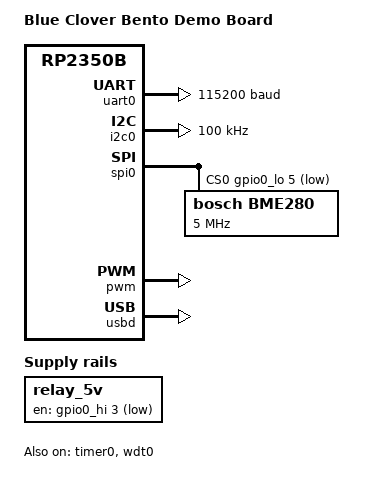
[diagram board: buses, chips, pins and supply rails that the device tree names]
/*
 * Copyright (c) 2026 Blue Clover Devices
 *
 * SPDX-License-Identifier: Apache-2.0
 */

/dts-v1/;

#include <raspberrypi/rpi_pico/rp2350b.dtsi>
#include <raspberrypi/rpi_pico/m33.dtsi>

#include <freq.h>
#include <zephyr/dt-bindings/i2c/i2c.h>
#include <zephyr/dt-bindings/led/led.h>
#include <zephyr/dt-bindings/pwm/pwm.h>

#include "bento-pinctrl.dtsi"

/ {
	model = "Blue Clover Bento Demo Board";
	compatible = "blueclover,bento";

	chosen {
		zephyr,sram = &sram0;
		zephyr,flash = &flash0;
		zephyr,flash-controller = &qmi;
		zephyr,console = &uart0;
		zephyr,shell-uart = &uart0;
		zephyr,code-partition = &code_partition;
	};

	aliases {
		watchdog0 = &wdt0;
		led-strip = &ws2812;
		pwm-buzzer = &pwm;
	};

	/* RGB_5V_IN power enable via relay on GPIO35 (RP_S1 / RELAY_S_IN) */
	relay_5v: relay-5v {
		compatible = "regulator-fixed";
		regulator-name = "relay_5v";
		enable-gpios = <&gpio0_hi 3 GPIO_ACTIVE_LOW>;
		regulator-boot-on;
	};
};

&flash0 {
	reg = <0x10000000 DT_SIZE_M(4)>;

	partitions {
		compatible = "fixed-partitions";
		#address-cells = <1>;
		#size-cells = <1>;

		/* Image definition block at start of flash */
		image_def: partition@0 {
			label = "image_def";
			reg = <0x00000000 0x100>;
			read-only;
		};

		/* Usable code partition */
		code_partition: partition@100 {
			label = "code-partition";
			reg = <0x100 (DT_SIZE_M(4) - 0x100)>;
			read-only;
		};
	};
};

&uart0 {
	current-speed = <115200>;
	status = "okay";
	pinctrl-0 = <&uart0_default>;
	pinctrl-names = "default";
};

gpio0_lo: &gpio0 {
	status = "okay";
};

&gpio0_hi {
	status = "okay";
};

&i2c0 {
	clock-frequency = <I2C_BITRATE_STANDARD>;
	pinctrl-0 = <&i2c0_default>;
	pinctrl-names = "default";
	status = "okay";
};

/*
 * SPI0: BME280 environmental sensor (SENS_SPI)
 * SCK=GP6, TX(MOSI)=GP7, RX(MISO)=GP4, CS=GP5 (RP_SPIS_SS / CS_BME280)
 */
&spi0 {
	pinctrl-0 = <&spi0_default>;
	pinctrl-names = "default";
	cs-gpios = <&gpio0_lo 5 GPIO_ACTIVE_LOW>;
	status = "okay";

	bme280: bme280@0 {
		compatible = "bosch,bme280";
		reg = <0>;
		spi-max-frequency = <5000000>;
	};
};

/* PWM: buzzer driven via MMBT3904 on GP29 (AUDIO_IN), channel 6B */
&pwm {
	pinctrl-0 = <&pwm_ch6b_default>;
	pinctrl-names = "default";
	status = "okay";
};

&timer0 {
	status = "okay";
};

&wdt0 {
	status = "okay";
};

zephyr_udc0: &usbd {
	status = "okay";
};

/*
 * PIO1 drives the WS2812-compatible RGB LED (LTST-E683CEGBW) via a
 * SN74LVC1G125 level shifter on GPIO36 (RP_S2 / RGB_D_IN).
 */
&pio1 {
	status = "okay";

	pio-ws2812 {
		compatible = "worldsemi,ws2812-rpi_pico-pio";
		status = "okay";
		pinctrl-0 = <&pio1_ws2812_default>;
		pinctrl-names = "default";
		bit-waveform = <3>, <3>, <4>;

		ws2812: ws2812 {
			status = "okay";
			gpios = <&gpio0_hi 4 GPIO_ACTIVE_HIGH>;
			chain-length = <1>;
			color-mapping = <LED_COLOR_ID_RED
					 LED_COLOR_ID_GREEN
					 LED_COLOR_ID_BLUE>;
			reset-delay = <280>;
			frequency = <800000>;
		};
	};
};
